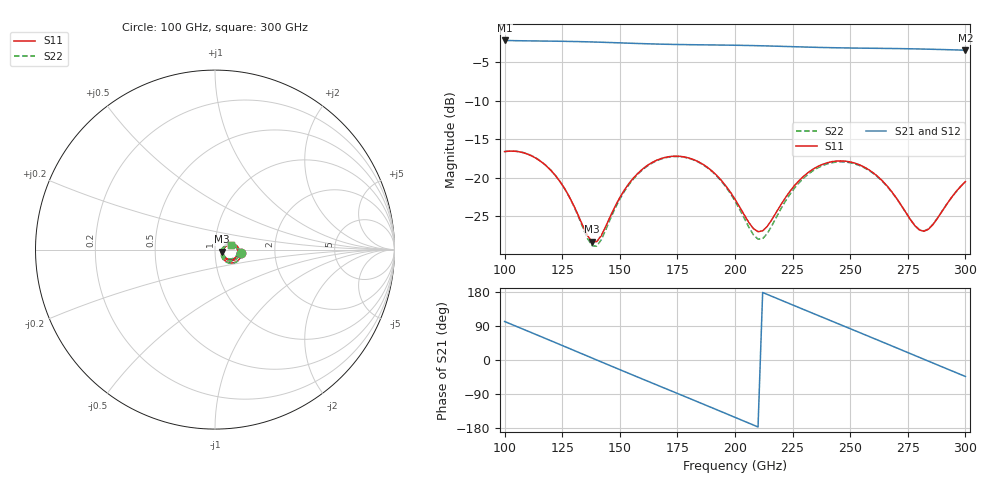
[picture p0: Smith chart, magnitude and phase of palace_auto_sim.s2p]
#  GHZ S DB R 50
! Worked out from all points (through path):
!   101 points, 100 GHz to 300 GHz, reference 50 ohm
!   highest |S21| = -2.20 dB at 100 GHz (marker M1); lowest = -3.5 dB at 300 GHz (marker M2)
!   group delay of S21, straight-line fit = 7.01 ps
!   lowest |S11| = -28.3 dB at 138 GHz (marker M3), VSWR 1.08, Z = 53.8 - j1.31 ohm
!   |S11| at or under -10 dB: start of sweep to end of sweep
!   |S22| runs from -28.9 to -16.5 dB; largest |S21 - S12| = 7.9e-14
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100  -16.63 -7.0  -2.20 101.6  -2.20 101.6  -16.60 -7.8
108  -16.76 -21.6  -2.24 81.4  -2.24 81.4  -16.73 -22.5
116  -17.96 -35.4  -2.27 61.2  -2.27 61.2  -17.93 -36.6
126  -21.40 -47.5  -2.31 35.8  -2.31 35.8  -21.40 -49.4
134  -26.28 -39.7  -2.36 15.3  -2.36 15.3  -26.51 -42.8
138  -28.33 -18.5  -2.39 5.1  -2.39 5.1  -28.84 -20.9
142  -27.50 7.7  -2.43 -5.1  -2.43 -5.1  -28.04 7.6
152  -21.60 23.3  -2.53 -30.5  -2.53 -30.5  -21.77 24.0
168  -17.51 1.9  -2.68 -70.7  -2.68 -70.7  -17.57 1.7
176  -17.23 -11.9  -2.72 -90.8  -2.72 -90.8  -17.28 -12.4
184  -17.92 -25.2  -2.76 -110.9  -2.76 -110.9  -17.97 -26.2
200  -22.80 -40.2  -2.82 -151.3  -2.82 -151.3  -23.03 -43.1
208  -26.61 -22.6  -2.86 -171.6  -2.86 -171.6  -27.42 -25.5
212  -26.91 -3.1  -2.89 178.2  -2.89 178.2  -27.92 -3.0
222  -22.55 19.5  -2.98 152.9  -2.98 152.9  -22.99 22.6
234  -18.87 9.4  -3.08 122.7  -3.08 122.7  -19.07 11.7
250  -17.96 -15.7  -3.17 82.7  -3.17 82.7  -18.06 -13.8
258  -18.96 -27.7  -3.20 62.6  -3.20 62.6  -19.04 -25.9
268  -21.81 -37.4  -3.24 37.4  -3.24 37.4  -21.85 -35.5
282  -26.96 -8.0  -3.31 1.9  -3.31 1.9  -26.92 -6.6
290  -24.30 16.9  -3.38 -18.3  -3.38 -18.3  -24.31 18.0
300  -20.52 16.1  -3.46 -43.5  -3.46 -43.5  -20.55 17.4
